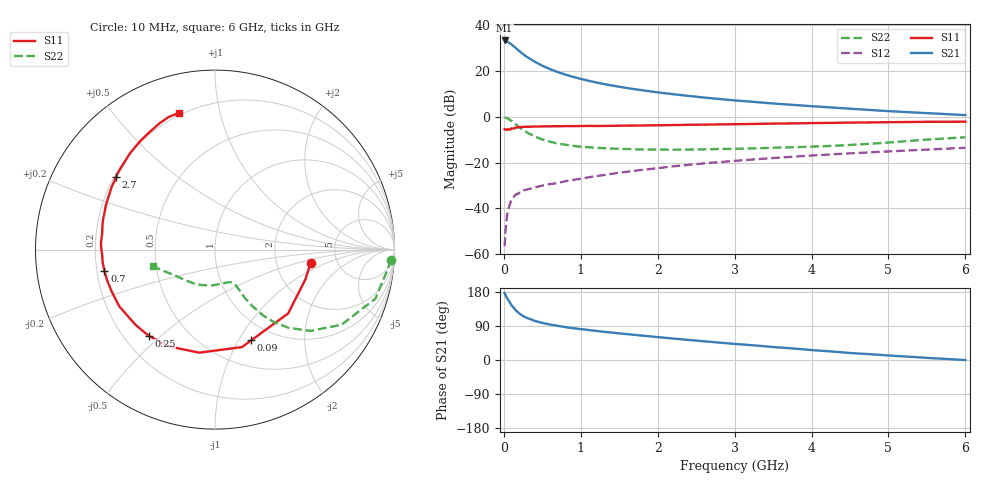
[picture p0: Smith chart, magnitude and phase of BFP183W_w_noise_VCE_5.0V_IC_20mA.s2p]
! Infineon Technologies  Discrete & RF Semiconductors
! BFP183W
! VCE =  5.0 V,  IC =  20 mA
! Common Emitter S-Parameters:  Jan 2017
# GHz  S  MA  R  50
!  f  S11  S21  S12  S22
! GHz  MAG  ANG  MAG  ANG  MAG  ANG  MAG  ANG
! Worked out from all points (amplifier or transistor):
!   77 points, 10 MHz to 6 GHz, reference 50 ohm
!   highest |S21| = 33.4 dB at 10 MHz (marker M1)
!   |S21| within 3 dB of that: start of sweep to 144.2 MHz
!   unconditionally stable (mu >= 1): 1.188 GHz to 3.568 GHz
!   at 130 MHz: K = 0.24, MSG = 32.9 dB, |S12| = -34.9 dB
!   at 2.2 GHz: K = 1.06, MAG = 14.2 dB, |S12| = -21.6 dB
!   at 6 GHz: K = 0.87, MSG = 7.2 dB, |S12| = -13.5 dB
!   lowest NFmin = 1.17 dB at 450 MHz
!   S11 on the Smith chart (normalised r, x): 10 MHz: 3.18, -0.66; 90 MHz: 0.79, -1.13; 250 MHz: 0.30, -0.46; 700 MHz: 0.23, -0.09; 2.7 GHz: 0.21, +0.31; 6 GHz: 0.19, +0.75
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0.01  0.5384 -7.8  46.95 176.5  0.0015 82.2  0.9829 -3.3
0.02  0.5302 -18.3  46.23 171.9  0.003 99.1  0.9663 -6.9
0.05  0.5409 -41.1  44.08 160.6  0.0085 73.8  0.9345 -17.0
0.09  0.5444 -68.2  39.34 147.9  0.014 65.4  0.8386 -27.7
0.1  0.5635 -74.5  38.5 144.3  0.0154 64.3  0.8198 -30.7
0.15  0.5809 -98.7  32.64 132.1  0.0198 53.8  0.6991 -40.4
0.2  0.5969 -115.2  27.59 122.9  0.0218 50.1  0.599 -46.7
0.25  0.6062 -127.6  23.64 116.0  0.0249 47.1  0.5202 -50.9
0.3  0.6099 -136.8  20.49 110.9  0.0259 46.0  0.4588 -53.7
0.4  0.6199 -149.3  16.11 103.2  0.0287 45.5  0.3749 -56.7
0.5  0.6212 -157.9  13.15 97.9  0.0316 47.3  0.3225 -58.1
0.6  0.6249 -164.3  11.11 93.6  0.0341 48.0  0.2876 -58.8
0.7  0.6274 -169.3  9.585 90.1  0.0359 49.2  0.2623 -59.0
0.9  0.6293 -177.3  7.505 84.0  0.0421 52.6  0.2336 -59.7
1.1  0.6366 176.5  6.186 79.2  0.048 54.6  0.2177 -60.7
1.5  0.6432 166.7  4.56 70.4  0.0602 56.8  0.2004 -65.0
2.1  0.6612 154.2  3.294 58.6  0.0796 57.7  0.1929 -76.2
2.7  0.6831 143.8  2.562 47.7  0.0999 56.2  0.1973 -91.2
3.1  0.6978 137.5  2.232 41.0  0.113 54.7  0.203 -101.6
4.1  0.7373 123.4  1.677 24.8  0.1467 49.8  0.2277 -127.4
5.1  0.7715 112.7  1.313 10.7  0.1799 44.1  0.2843 -152.2
6  0.7882 104.7  1.097 -0.2  0.2114 38.2  0.3595 -165.3
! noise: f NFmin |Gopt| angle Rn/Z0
0.45  1.17  0.2  171  0.1
0.9  1.2  0.25  174  0.09
1.9  1.68  0.41  -163  0.08
2.4  1.92  0.45  -157  0.12
